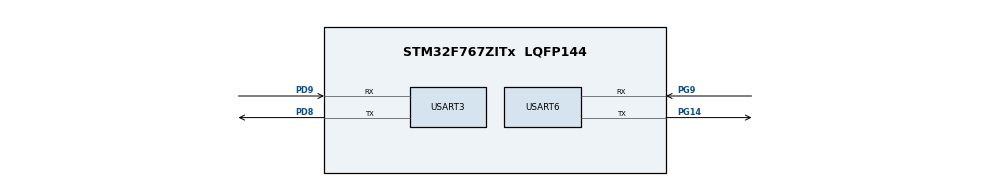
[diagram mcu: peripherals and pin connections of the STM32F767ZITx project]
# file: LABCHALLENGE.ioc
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Mcu.Family=STM32F7
Mcu.Name=STM32F767ZITx
Mcu.Package=LQFP144
NVIC.PriorityGroup=NVIC_PRIORITYGROUP_4
PD8.Mode=Asynchronous
PD8.Signal=USART3_TX
PD9.Mode=Asynchronous
PD9.Signal=USART3_RX
PG14.Mode=Asynchronous
PG14.Signal=USART6_TX
PG9.Mode=Asynchronous
PG9.Signal=USART6_RX
ProjectManager.HeapSize=0x200
ProjectManager.StackSize=0x400
ProjectManager.TargetToolchain=STM32CubeIDE
RCC.HSE_VALUE=25000000
RCC.HSI_VALUE=16000000
RCC.LSE_VALUE=32768
RCC.USBFreq_Value=96000000
RCC.VCOOutputFreq_Value=192000000
USART3.VirtualMode-Asynchronous=VM_ASYNC
USART6.VirtualMode-Asynchronous=VM_ASYNC
board=custom

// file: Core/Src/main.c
/* USER CODE BEGIN Header */
/**
  ******************************************************************************
  * @file           : main.c
  * @brief          : Main program body
  ******************************************************************************
  * @attention
  *
  * Copyright (c) 2023 STMicroelectronics.
  * All rights reserved.
  *
  * This software is licensed under terms that can be found in the LICENSE file
  * in the root directory of this software component.
  * If no LICENSE file comes with this software, it is provided AS-IS.
  *
  ******************************************************************************
  */
/* USER CODE END Header */
#include "main.h"
#include "usart.h"
#include "gpio.h"

/* USER CODE BEGIN Includes */
#include "string.h"
/* USER CODE END Includes */

void SystemClock_Config(void);
static void MPU_Initialize(void);
static void MPU_Config(void);

/* USER CODE BEGIN 0 */
char ch1;
char str[1000];
int i=0;
int test;
/* USER CODE END 0 */

int main(void)
{

  /* MCU Configuration--------------------------------------------------------*/

  /* Reset of all peripherals, Initializes the Flash interface and the Systick. */
  HAL_Init();

  /* MPU Configuration--------------------------------------------------------*/
  MPU_Config();

  /* Configure the system clock */
  SystemClock_Config();

  /* Initialize all configured peripherals */
  MX_GPIO_Init();
  MX_USART3_UART_Init();
  MX_USART6_UART_Init();
  /* USER CODE BEGIN 2 */
  char displayMsg[] = "Man from U.A.R.T.2!\r\nQuit PRESS q\r\n";
  while(__HAL_UART_GET_FLAG(&huart3,UART_FLAG_TC) == RESET){} //เช็กว่า Transmission complete รึยัง
  HAL_UART_Transmit(&huart3,(uint8_t*)displayMsg,strlen(displayMsg),1000);
  /* USER CODE END 2 */

  /* Infinite loop */
  while (1)
  {

    /* USER CODE BEGIN 3 */

	  while(1)
	  	  {
	  		      while(__HAL_UART_GET_FLAG(&huart6,UART_FLAG_RXNE)==RESET){}
	  		  	  HAL_UART_Receive(&huart6, (uint8_t*) &ch1, 1,1000);
	  		  	  while(__HAL_UART_GET_FLAG(&huart3,UART_FLAG_TC)==RESET){}
	  		  	  HAL_UART_Transmit(&huart3, (uint8_t*) &ch1, 1,1000);
	  		  	  if(ch1=='\r')
	  		  	  {
	  		  		  str[i++]='\0';
	  		  		  if(strcmp(str,"q")==0)
	  		  		  {
	  		  			  while(1);
	  		  		  }
	  		  		  char x='\n';
	  		  		  while(__HAL_UART_GET_FLAG(&huart3,UART_FLAG_TC)==RESET){}
	  		  		  HAL_UART_Transmit(&huart3, (uint8_t*) &x, 1,1000);
	  		  		  i=0;
	  		  		  break;
	  		  	  }
	  		  	  else
	  		  		  str[i++]=ch1;
	  		    }
	  while(__HAL_UART_GET_FLAG(&huart3,UART_FLAG_TC)==RESET){}
	  HAL_UART_Transmit(&huart3, (uint8_t*) displayMsg, strlen(displayMsg),1000);
	  while(1)
	  {
		  while(__HAL_UART_GET_FLAG(&huart3,UART_FLAG_RXNE)==RESET){}
		  	  HAL_UART_Receive(&huart3, (uint8_t*) &ch1, 1,1000);
		  	  while(__HAL_UART_GET_FLAG(&huart3,UART_FLAG_TC)==RESET){}
		  	  HAL_UART_Transmit(&huart3, (uint8_t*) &ch1, 1,1000);
		  	  while(__HAL_UART_GET_FLAG(&huart6,UART_FLAG_TC)==RESET){}
			  HAL_UART_Transmit(&huart6, (uint8_t*) &ch1, 1,1000);
		  	  if(ch1=='\r')
		  	  {
		  		  str[i++]='\0';
		  		  if(strcmp(str,"q")==0)
		  		  {
		  			  while(1);
		  		  }

		  		  char x='\n';
		  		  while(__HAL_UART_GET_FLAG(&huart3,UART_FLAG_TC)==RESET){}
		  		  HAL_UART_Transmit(&huart3, (uint8_t*) &x, 1,1000);
		  		  i=0;
		  		  break;
		  	  }
		  	  else
		  		  str[i++]=ch1;
		    }
	  }

  /* USER CODE END 3 */
}

void SystemClock_Config(void)
{
  RCC_OscInitTypeDef RCC_OscInitStruct = {0};
  RCC_ClkInitTypeDef RCC_ClkInitStruct = {0};

  /** Configure the main internal regulator output voltage
  */
  __HAL_RCC_PWR_CLK_ENABLE();
  __HAL_PWR_VOLTAGESCALING_CONFIG(PWR_REGULATOR_VOLTAGE_SCALE3);

  /** Initializes the RCC Oscillators according to the specified parameters
  * in the RCC_OscInitTypeDef structure.
  */
  RCC_OscInitStruct.OscillatorType = RCC_OSCILLATORTYPE_HSI;
  RCC_OscInitStruct.HSIState = RCC_HSI_ON;
  RCC_OscInitStruct.HSICalibrationValue = RCC_HSICALIBRATION_DEFAULT;
  RCC_OscInitStruct.PLL.PLLState = RCC_PLL_NONE;
  if (HAL_RCC_OscConfig(&RCC_OscInitStruct) != HAL_OK)
  {
    Error_Handler();
  }

  /** Initializes the CPU, AHB and APB buses clocks
  */
  RCC_ClkInitStruct.ClockType = RCC_CLOCKTYPE_HCLK|RCC_CLOCKTYPE_SYSCLK
                              |RCC_CLOCKTYPE_PCLK1|RCC_CLOCKTYPE_PCLK2;
  RCC_ClkInitStruct.SYSCLKSource = RCC_SYSCLKSOURCE_HSI;
  RCC_ClkInitStruct.AHBCLKDivider = RCC_SYSCLK_DIV1;
  RCC_ClkInitStruct.APB1CLKDivider = RCC_HCLK_DIV1;
  RCC_ClkInitStruct.APB2CLKDivider = RCC_HCLK_DIV1;

  if (HAL_RCC_ClockConfig(&RCC_ClkInitStruct, FLASH_LATENCY_0) != HAL_OK)
  {
    Error_Handler();
  }
}

/* MPU Configuration */

void MPU_Config(void)
{
  MPU_Region_InitTypeDef MPU_InitStruct = {0};

  /* Disables the MPU */
  HAL_MPU_Disable();

  /** Initializes and configures the Region and the memory to be protected
  */
  MPU_InitStruct.Enable = MPU_REGION_ENABLE;
  MPU_InitStruct.Number = MPU_REGION_NUMBER0;
  MPU_InitStruct.BaseAddress = 0x0;
  MPU_InitStruct.Size = MPU_REGION_SIZE_4GB;
  MPU_InitStruct.SubRegionDisable = 0x87;
  MPU_InitStruct.TypeExtField = MPU_TEX_LEVEL0;
  MPU_InitStruct.AccessPermission = MPU_REGION_NO_ACCESS;
  MPU_InitStruct.DisableExec = MPU_INSTRUCTION_ACCESS_DISABLE;
  MPU_InitStruct.IsShareable = MPU_ACCESS_SHAREABLE;
  MPU_InitStruct.IsCacheable = MPU_ACCESS_NOT_CACHEABLE;
  MPU_InitStruct.IsBufferable = MPU_ACCESS_NOT_BUFFERABLE;

  HAL_MPU_ConfigRegion(&MPU_InitStruct);
  /* Enables the MPU */
  HAL_MPU_Enable(MPU_PRIVILEGED_DEFAULT);

}

void Error_Handler(void)
{
  __disable_irq();
  while (1)
  {
  }
}
